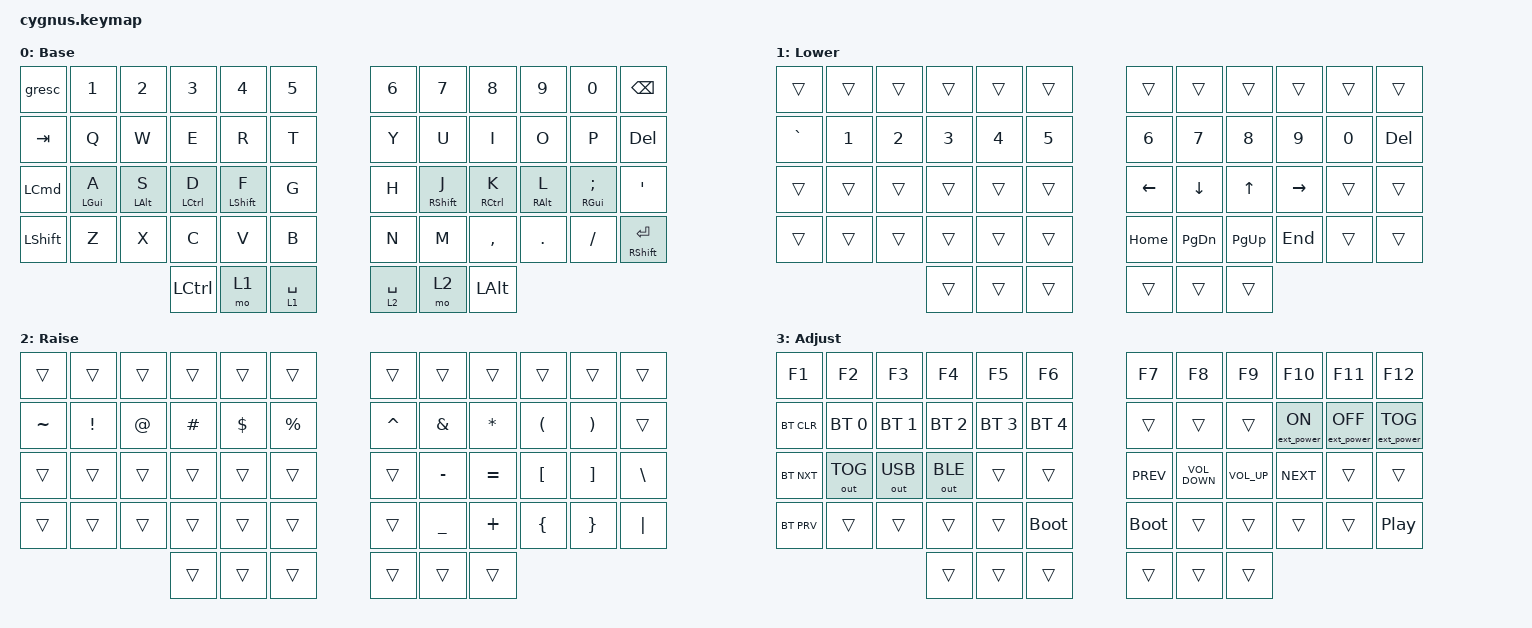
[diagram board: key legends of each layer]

#include "key-labels.h"

#include <behaviors.dtsi>
#include <dt-bindings/zmk/bt.h>
#include <dt-bindings/zmk/ext_power.h>
#include <dt-bindings/zmk/keys.h>
#include <dt-bindings/zmk/outputs.h>

#define KEYS_L LN5 LN4 LN3 LN2 LN1 LN0 \
               LT5 LT4 LT3 LT2 LT1 LT0 \
               LM5 LM4 LM3 LM2 LM1 LM0 \
               LB5 LB4 LB3 LB2 LB1 LB0  // Left-hand keys.

#define KEYS_R RN0 RN1 RN2 RN3 RN4 RN5 \
               RT0 RT1 RT2 RT3 RT4 RT5 \
               RM0 RM1 RM2 RM3 RM4 RM5 \
               RB0 RB1 RB2 RB3 RB4 RB5  // Right-hand keys.

#define THUMBS LH2 LH1 LH0 RH0 RH1 RH2  // Thumb keys.



/ {
    behaviors {
        hml: home_row_mod_left {
            compatible = "zmk,behavior-hold-tap";
            #binding-cells = <2>;
            flavor = "balanced";
            require-prior-idle-ms = <150>;
            tapping-term-ms = <280>;
            quick-tap-ms = <175>;
            bindings = <&kp>, <&kp>;
            hold-trigger-key-positions = <KEYS_R THUMBS>; // List of keys on the right side of the keyboard
            hold-trigger-on-release;
        };
        hmr: home_row_mod_right {
            compatible = "zmk,behavior-hold-tap";
            #binding-cells = <2>;
            flavor = "balanced";
            require-prior-idle-ms = <150>;
            tapping-term-ms = <280>;
            quick-tap-ms = <175>;
            bindings = <&kp>, <&kp>;
            hold-trigger-key-positions = <KEYS_L THUMBS>; // List of keys on the left side of the keyboard
            hold-trigger-on-release;
        };
    };
    keymap {
        compatible = "zmk,keymap";

        qwerty {
            display-name = "Base";
            bindings = <
&gresc            &kp N1           &kp N2           &kp N3               &kp N4             &kp N5         &kp N6       &kp N7              &kp N8                &kp N9            &kp N0               &kp BSPC
&kp TAB           &kp Q            &kp W            &kp E                &kp R              &kp T          &kp Y        &kp U               &kp I                 &kp O             &kp P                &kp DELETE
&kp LEFT_COMMAND  &hml LEFT_GUI A  &hml LEFT_ALT S  &hml LEFT_CONTROL D  &hml LEFT_SHIFT F  &kp G          &kp H        &hmr RIGHT_SHIFT J  &hmr RIGHT_CONTROL K  &hmr RIGHT_ALT L  &hmr RIGHT_GUI SEMI  &kp APOS
&kp LEFT_SHIFT    &kp Z            &kp X            &kp C                &kp V              &kp B          &kp N        &kp M               &kp COMMA             &kp DOT           &kp FSLH             &mt RSHFT ENTER
                                                    &kp LEFT_CONTROL     &mo 1              &lt 1 SPACE    &lt 2 SPACE  &mo 2               &kp LEFT_ALT 
            >;
        };

        lower {
            display-name = "Lower";
            bindings = <
&trans     &trans  &trans  &trans  &trans  &trans    &trans    &trans         &trans       &trans     &trans  &trans
&kp GRAVE  &kp N1  &kp N2  &kp N3  &kp N4  &kp N5    &kp N6    &kp N7         &kp N8       &kp N9     &kp N0  &kp DELETE
&trans     &trans  &trans  &trans  &trans  &trans    &kp LEFT  &kp DOWN       &kp UP       &kp RIGHT  &trans  &trans
&trans     &trans  &trans  &trans  &trans  &trans    &kp HOME  &kp PAGE_DOWN  &kp PAGE_UP  &kp END    &trans  &trans
                           &trans  &trans  &trans    &trans    &trans         &trans
            >;
        };

        raise {
            display-name = "Raise";
            bindings = <
&trans     &trans           &trans       &trans    &trans      &trans         &trans     &trans         &trans        &trans                &trans                 &trans
&kp TILDE  &kp EXCLAMATION  &kp AT_SIGN  &kp HASH  &kp DOLLAR  &kp PERCENT    &kp CARET  &kp AMPERSAND  &kp ASTERISK  &kp LEFT_PARENTHESIS  &kp RIGHT_PARENTHESIS  &trans
&trans     &trans           &trans       &trans    &trans      &trans         &trans     &kp MINUS      &kp EQUAL     &kp LBKT              &kp RBKT               &kp BSLH
&trans     &trans           &trans       &trans    &trans      &trans         &trans     &kp UNDER      &kp PLUS      &kp LEFT_BRACE        &kp RIGHT_BRACE        &kp PIPE
                                         &trans    &trans      &trans         &trans     &trans         &trans
            >;
        };

        adjust {
            display-name = "Adjust";
            bindings = <
&kp F1      &kp F2        &kp F3        &kp F4        &kp F5        &kp F6          &kp F7       &kp F8             &kp F9        &kp F10           &kp F11            &kp F12
&bt BT_CLR  &bt BT_SEL 0  &bt BT_SEL 1  &bt BT_SEL 2  &bt BT_SEL 3  &bt BT_SEL 4    &trans       &trans             &trans        &ext_power EP_ON  &ext_power EP_OFF  &ext_power EP_TOG
&bt BT_NXT  &out OUT_TOG  &out OUT_USB  &out OUT_BLE  &trans        &trans          &kp C_PREV   &kp C_VOLUME_DOWN  &kp C_VOL_UP  &kp C_NEXT        &trans             &trans
&bt BT_PRV  &trans        &trans        &trans        &trans        &bootloader     &bootloader  &trans             &trans        &trans            &trans             &kp C_PLAY_PAUSE
                                        &trans        &trans        &trans          &trans       &trans             &trans
            >;
        };
    };

    conditional_layers {
        compatible = "zmk,conditional-layers";

        tri_layer {
            if-layers = <1 2>;
            then-layer = <3>;
        };
    };
};
